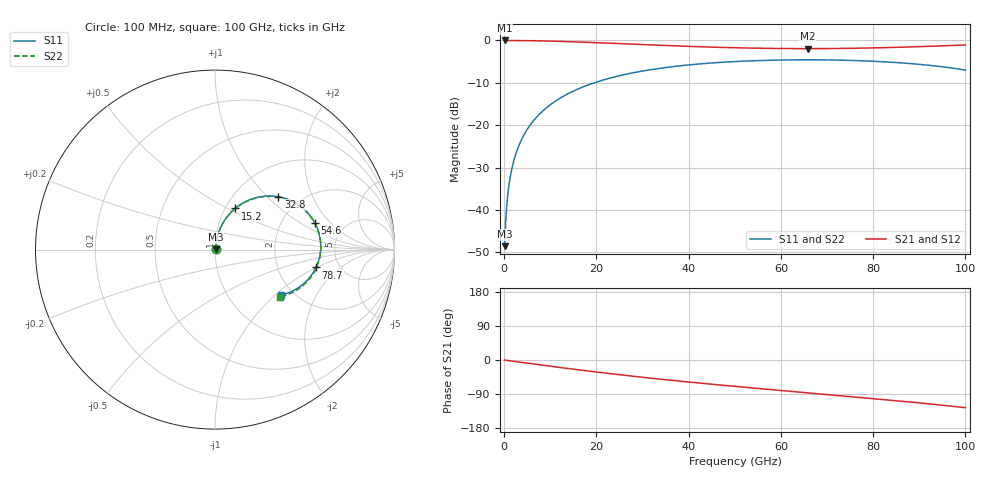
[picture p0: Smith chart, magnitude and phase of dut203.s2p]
! Touchstone file exported from HFSS 2026.1.0
!  File:  C:/ffzhzh/LocalFiles/Ansys_Project_Files/temp_train_RDL_203_1783500751_31944.aedt
!  Generated:  04:53:42 PM Jul  8, 2026
!  Design:  RDL
!  Project:  temp_train_RDL_203_1783500751_31944
! Variables:
!  h_bsmrdl = 2um
!  h_ox = 20um
!  h_rdl = 5um
!  h_sub = 80um
!  h_tmrdl = 2.15um
!  h_tsv = 80um
!  h_via = 3um
!  l_bsmrdl = 300um
!  l_sub = 815.28um
!  l_tmrdl = 415.28um
!  m_sub = 200um
!  pitch = 54.75um
!  r_tsv = 6um
!  s_tmrdl = 10um
!  w_bsmrdl = 18um
!  w_sub = 500um
!  w_tmrdl = 24.03um
!  x_tsv_center1 = 427.295um
!  x_tsv_center2 = 745.295um
!  x_tsv_center3 = 1184.605um
!  x_tsv_center4 = 1502.605um
!  x_tsv_center5 = 1941.915um
!  x_tsv_center6 = 2259.915um
# GHz S MA R 50.000000
! Terminal data exported
! Port[1] = TM_RDL1_1_T1
! Port[2] = TM_RDL1_1_T2
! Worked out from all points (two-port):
!   1000 points, 100 MHz to 100 GHz, reference 50 ohm
!   highest |S21| = -0.03 dB at 100 MHz (marker M1); lowest = -2.0 dB at 65.8 GHz (marker M2)
!   |S21| within 3 dB of the highest: start of sweep to end of sweep
!   lowest |S11| = -48.5 dB at 100 MHz (marker M3), VSWR 1.01, Z = 50.3 + j0.198 ohm
!   |S11| at or under -10 dB: start of sweep to 19.58 GHz
!   |S22| runs from -48.5 to -4.6 dB; largest |S21 - S12| = 1.6e-14
!   S11 on the Smith chart (normalised r, x): 100 MHz: 1.01, +0.00; 15.2 GHz: 1.11, +0.54; 32.8 GHz: 1.56, +1.17; 54.6 GHz: 3.05, +1.37; 78.7 GHz: 3.34, -0.99; 100 GHz: 1.72, -1.09
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0.1  0.003738 31.8  0.9968 -0.2  0.9968 -0.2  0.003738 31.8
! Gamma 0 0 0 0
! Port Impedance 50 0 50 0
0.4  0.008455 64.9  0.9965 -0.7  0.9965 -0.7  0.008456 64.9
0.9  0.01713 75.2  0.9959 -1.5  0.9959 -1.5  0.01713 75.2
1.2  0.02235 77.5  0.9957 -2.0  0.9957 -2.0  0.02235 77.5
1.5  0.0276 78.8  0.9954 -2.5  0.9954 -2.5  0.0276 78.8
2.5  0.04521 80.3  0.9946 -4.2  0.9946 -4.2  0.04521 80.3
3.9  0.06986 79.8  0.993 -6.5  0.993 -6.5  0.06986 79.7
5.8  0.103 77.7  0.9898 -9.6  0.9898 -9.6  0.103 77.6
8.3  0.1457 74.2  0.9839 -13.7  0.9839 -13.7  0.1457 74.1
11.4  0.1965 69.6  0.9743 -18.7  0.9743 -18.7  0.1965 69.5
15.2  0.2549 63.9  0.9599 -24.6  0.9599 -24.6  0.2549 63.7
16.8  0.2781 61.6  0.9531 -27.0  0.9531 -27.0  0.2781 61.4
24  0.3711 51.4  0.9199 -37.5  0.9199 -37.5  0.3712 51.0
32.8  0.4597 39.9  0.8787 -49.2  0.8787 -49.2  0.4597 39.4
33.4  0.4648 39.1  0.876 -50.0  0.876 -50.0  0.4648 38.7
50.1  0.5624 19.9  0.8175 -69.7  0.8175 -69.7  0.5624 19.2
54.6  0.576 15.1  0.8081 -74.6  0.8081 -74.6  0.5761 14.3
65.8  0.5898 3.4  0.7983 -86.5  0.7983 -86.5  0.5898 2.5
66.7  0.5897 2.5  0.7984 -87.4  0.7984 -87.4  0.5897 1.5
78.7  0.571 -10.1  0.8112 -100.3  0.8112 -100.3  0.5711 -11.2
83.4  0.5544 -15.1  0.8221 -105.5  0.8221 -105.5  0.5544 -16.4
100  0.4461 -34.6  0.8824 -125.7  0.8824 -125.7  0.4461 -36.1
